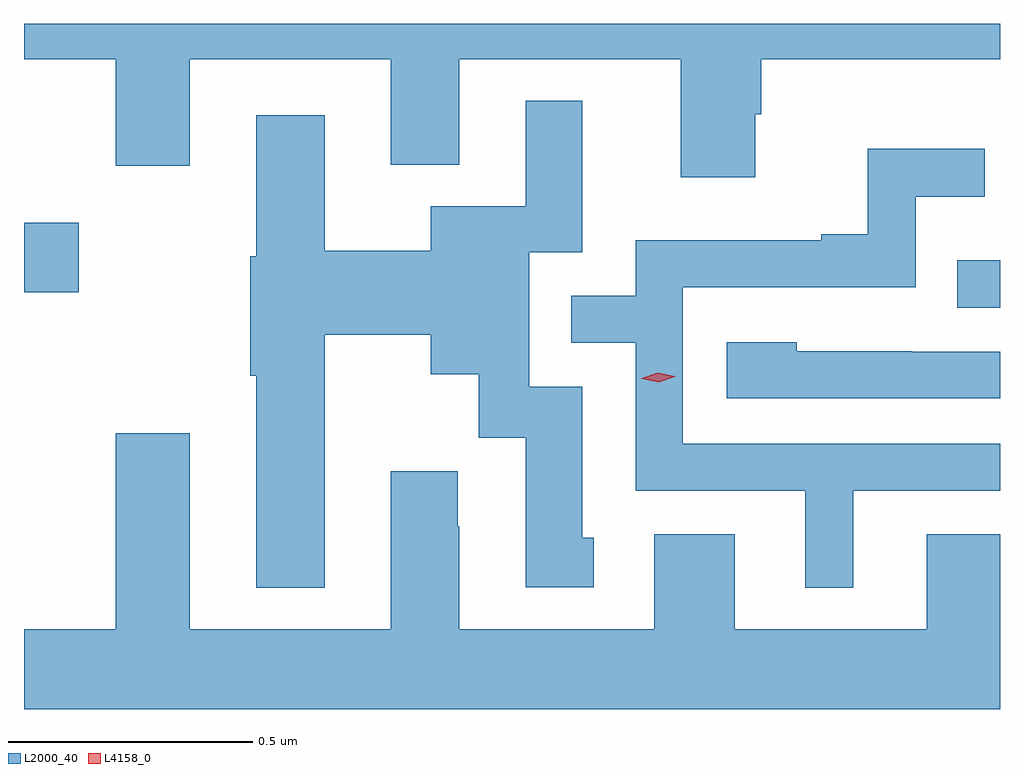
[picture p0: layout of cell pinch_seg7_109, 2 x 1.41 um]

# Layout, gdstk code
import gdstk
lib = gdstk.Library(unit=1e-6, precision=1e-09)
def R(c, l, rs):  # rectangles x0, y0, x1, y1
    for r in rs: c.add(gdstk.rectangle(r[:2], r[2:], *l))
def P(c, l, *ps):  # polygons
    for p in ps: c.add(gdstk.Polygon(p, *l))
L2000_40 = (2000, 40)
L4158_0 = (4158, 0)

pinch_seg7_109 = lib.new_cell('pinch_seg7_109')
R(pinch_seg7_109, L2000_40, [(927.661,1002.771,927.749,1002.868), (925.749,1002.803,925.861,1002.945)])
P(pinch_seg7_109, L2000_40, [(927.247,1003.167),(927.26,1003.167),(927.26,1003.28),(927.749,1003.28),(927.749,1003.353),(925.749,1003.353),(925.749,1003.28),(925.937,1003.28),(925.937,1003.062),(926.089,1003.062),(926.089,1003.28),(926.501,1003.28),(926.501,1003.064),(926.641,1003.064),(926.641,1003.28),(927.095,1003.28),(927.095,1003.038),(927.247,1003.038)],
  [(926.365,1002.716),(926.582,1002.716),(926.582,1002.635),(926.681,1002.635),(926.681,1002.504),(926.777,1002.504),(926.777,1002.198),(926.917,1002.198),(926.917,1002.3),(926.893,1002.3),(926.893,1002.609),(926.784,1002.609),(926.784,1002.885),(926.893,1002.885),(926.893,1003.195),(926.777,1003.195),(926.777,1002.979),(926.582,1002.979),(926.582,1002.888),(926.365,1002.888),(926.365,1003.165),(926.225,1003.165),(926.225,1002.876),(926.213,1002.876),(926.213,1002.632),(926.225,1002.632),(926.225,1002.197),(926.365,1002.197)],
  [(927.448,1002.396),(927.749,1002.396),(927.749,1002.492),(927.099,1002.492),(927.099,1002.813),(927.576,1002.813),(927.576,1002.998),(927.718,1002.998),(927.718,1003.097),(927.478,1003.097),(927.478,1002.922),(927.383,1002.922),(927.383,1002.909),(927.003,1002.909),(927.003,1002.795),(926.87,1002.795),(926.87,1002.699),(927.003,1002.699),(927.003,1002.396),(927.35,1002.396),(927.35,1002.197),(927.448,1002.197)],
  [(927.749,1002.681),(927.569,1002.681),(927.569,1002.682),(927.333,1002.682),(927.333,1002.7),(927.189,1002.7),(927.189,1002.585),(927.749,1002.585)],
  [(927.749,1002.307),(927.599,1002.307),(927.599,1002.112),(927.205,1002.112),(927.205,1002.307),(927.041,1002.307),(927.041,1002.112),(926.641,1002.112),(926.641,1002.323),(926.638,1002.323),(926.638,1002.436),(926.501,1002.436),(926.501,1002.112),(926.089,1002.112),(926.089,1002.514),(925.937,1002.514),(925.937,1002.112),(925.749,1002.112),(925.749,1001.948),(927.749,1001.948)])
P(pinch_seg7_109, L4158_0, [(927.05,1002.618),(927.015,1002.625),(927.014,1002.625),(927.015,1002.626),(927.048,1002.638),(927.083,1002.631),(927.084,1002.631),(927.083,1002.63)])

lib.write_gds('pinch_seg7_109.gds')
